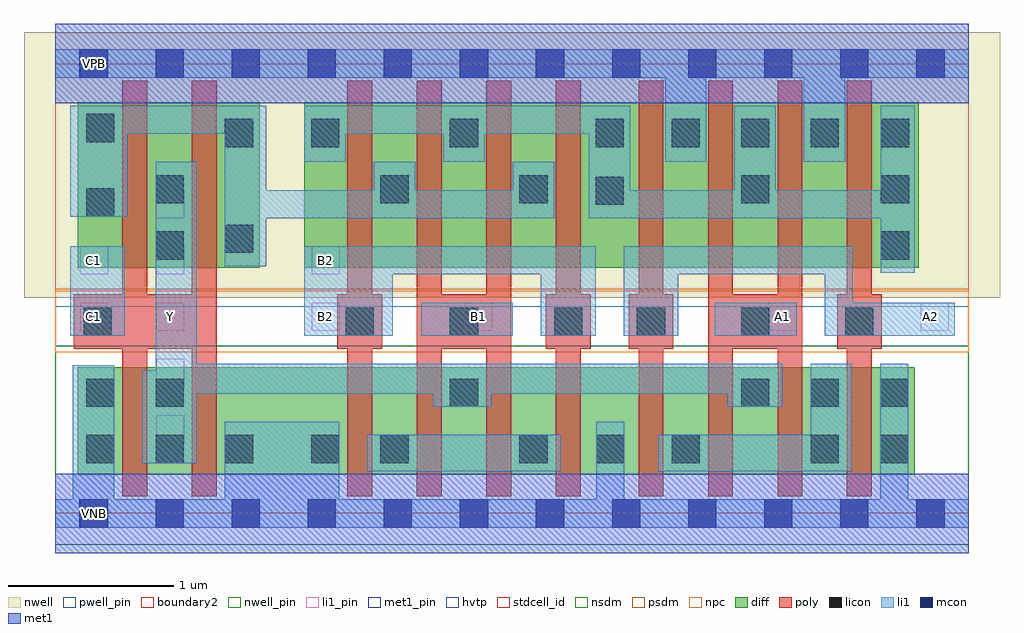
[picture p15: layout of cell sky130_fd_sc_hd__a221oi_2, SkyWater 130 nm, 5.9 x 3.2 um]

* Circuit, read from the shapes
.subckt sky130_fd_sc_hd__a221oi_2 A1 A2 B1 B2 C1 VGND VNB VPB VPWR Y
XM1 Y C1 VGND VNB sky130_fd_pr__nfet_01v8 w=0.65 l=0.15 m=2
XM2 n1 B2 VGND VNB sky130_fd_pr__nfet_01v8 w=0.65 l=0.15 m=2
XM3 Y B1 n1 VNB sky130_fd_pr__nfet_01v8 w=0.65 l=0.15 m=2
XM4 n2 A2 VGND VNB sky130_fd_pr__nfet_01v8 w=0.65 l=0.15 m=2
XM5 Y A1 n2 VNB sky130_fd_pr__nfet_01v8 w=0.65 l=0.15 m=2
XM6 Y C1 n3 VPB sky130_fd_pr__pfet_01v8_hvt w=1 l=0.15 m=2
XM7 n3 B2 n4 VPB sky130_fd_pr__pfet_01v8_hvt w=1 l=0.15 m=2
XM8 n4 B1 n3 VPB sky130_fd_pr__pfet_01v8_hvt w=1 l=0.15 m=2
XM9 VPWR A2 n4 VPB sky130_fd_pr__pfet_01v8_hvt w=1 l=0.15 m=2
XM10 n4 A1 VPWR VPB sky130_fd_pr__pfet_01v8_hvt w=1 l=0.15 m=2
.ends

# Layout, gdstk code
import gdstk
lib = gdstk.Library(unit=1e-6, precision=1e-09)
def R(c, l, rs):  # rectangles x0, y0, x1, y1
    for r in rs: c.add(gdstk.rectangle(r[:2], r[2:], *l))
def A(c, l, x, y, w, h, nx, ny, dx, dy):  # array of equal rectangles
    R(c, l, [(x+i*dx, y+j*dy, x+i*dx+w, y+j*dy+h) for i in range(nx) for j in range(ny)])
def P(c, l, *ps):  # polygons
    for p in ps: c.add(gdstk.Polygon(p, *l))
nwell_pin = (64, 16)
nwell = (64, 20)
diff = (65, 20)
poly = (66, 20)
licon = (66, 44)
li1_pin = (67, 16)
li1 = (67, 20)
mcon = (67, 44)
met1_pin = (68, 16)
met1 = (68, 20)
hvtp = (78, 44)
stdcell_id = (81, 4)
nsdm = (93, 44)
psdm = (94, 20)
npc = (95, 20)
pwell_pin = (122, 16)
boundary2 = (236, 0)

sky130_fd_sc_hd__a221oi_ = lib.new_cell('sky130_fd_sc_hd__a221oi_2')
R(sky130_fd_sc_hd__a221oi_, nwell_pin, [(0.15,2.635,0.32,2.805)])
R(sky130_fd_sc_hd__a221oi_, nwell, [(-0.19,1.305,5.71,2.91)])
R(sky130_fd_sc_hd__a221oi_, diff, [(0.135,0.235,5.195,0.885), (0.135,1.485,1.235,2.485), (1.505,1.485,5.22,2.485)])
P(sky130_fd_sc_hd__a221oi_, poly, [(1.975,1.325),(1.915,1.325),(1.915,2.615),(1.765,2.615),(1.765,1.325),(1.705,1.325),(1.705,0.995),(1.765,0.995),(1.765,0.105),(1.915,0.105),(1.915,0.995),(1.975,0.995)],
  [(2.755,2.615),(2.605,2.615),(2.605,1.325),(2.335,1.325),(2.335,2.615),(2.185,2.615),(2.185,0.105),(2.335,0.105),(2.335,0.995),(2.605,0.995),(2.605,0.105),(2.755,0.105)],
  [(4.995,1.325),(4.935,1.325),(4.935,2.615),(4.785,2.615),(4.785,1.325),(4.725,1.325),(4.725,0.995),(4.785,0.995),(4.785,0.105),(4.935,0.105),(4.935,0.995),(4.995,0.995)],
  [(3.235,1.325),(3.175,1.325),(3.175,2.615),(3.025,2.615),(3.025,1.325),(2.965,1.325),(2.965,0.995),(3.025,0.995),(3.025,0.105),(3.175,0.105),(3.175,0.995),(3.235,0.995)],
  [(0.975,2.615),(0.825,2.615),(0.825,1.325),(0.555,1.325),(0.555,2.615),(0.405,2.615),(0.405,1.325),(0.11,1.325),(0.11,0.995),(0.405,0.995),(0.405,0.105),(0.555,0.105),(0.555,0.995),(0.825,0.995),(0.825,0.105),(0.975,0.105)],
  [(4.515,2.615),(4.365,2.615),(4.365,1.325),(4.095,1.325),(4.095,2.615),(3.945,2.615),(3.945,0.105),(4.095,0.105),(4.095,0.995),(4.365,0.995),(4.365,0.105),(4.515,0.105)],
  [(3.735,1.325),(3.675,1.325),(3.675,2.615),(3.525,2.615),(3.525,1.325),(3.465,1.325),(3.465,0.995),(3.525,0.995),(3.525,0.105),(3.675,0.105),(3.675,0.995),(3.735,0.995)])
A(sky130_fd_sc_hd__a221oi_, licon, 0.185, 0.305, 0.17, 0.17, 3, 1, 0.42, 0)
A(sky130_fd_sc_hd__a221oi_, licon, 4.145, 0.645, 0.17, 0.17, 3, 1, 0.42, 0)
A(sky130_fd_sc_hd__a221oi_, licon, 1.755, 1.075, 0.17, 0.17, 3, 1, 0.63, 0)
A(sky130_fd_sc_hd__a221oi_, licon, 3.515, 1.075, 0.17, 0.17, 3, 1, 0.63, 0)
A(sky130_fd_sc_hd__a221oi_, licon, 4.99, 1.535, 0.17, 0.17, 1, 3, 0, 0.34)
A(sky130_fd_sc_hd__a221oi_, licon, 3.725, 2.215, 0.17, 0.17, 3, 1, 0.42, 0)
R(sky130_fd_sc_hd__a221oi_, licon, [(1.545,0.305,1.715,0.475), (1.965,0.305,2.135,0.475), (2.805,0.305,2.975,0.475), (3.27,0.305,3.44,0.475), (3.725,0.305,3.895,0.475), (4.565,0.305,4.735,0.475), (4.985,0.305,5.155,0.475), (0.185,0.645,0.355,0.815), (0.605,0.645,0.775,0.815), (2.385,0.645,2.555,0.815), (0.17,1.075,0.34,1.245), (0.605,1.535,0.775,1.705), (1.025,1.575,1.195,1.745), (0.185,1.795,0.355,1.965), (3.265,1.865,3.435,2.035), (0.605,1.875,0.775,2.045), (1.965,1.875,2.135,2.045), (2.805,1.875,2.975,2.045), (4.145,1.875,4.315,2.045), (1.025,2.215,1.195,2.385), (1.545,2.215,1.715,2.385), (2.385,2.215,2.555,2.385), (3.265,2.215,3.435,2.385), (0.185,2.245,0.355,2.415)])
A(sky130_fd_sc_hd__a221oi_, li1_pin, 0.61, 0.425, 0.17, 0.17, 1, 5, 0, 0.34)
R(sky130_fd_sc_hd__a221oi_, li1_pin, [(0.15,1.105,0.32,1.275), (1.55,1.105,1.72,1.275), (2.47,1.105,2.64,1.275), (4.31,1.105,4.48,1.275), (5.23,1.105,5.4,1.275), (0.15,1.445,0.32,1.615), (1.55,1.445,1.72,1.615)])
R(sky130_fd_sc_hd__a221oi_, li1, [(1.885,0.255,3.055,0.475), (0.09,1.075,0.42,1.615), (2.21,1.075,2.765,1.275), (3.985,1.075,4.48,1.275)])
P(sky130_fd_sc_hd__a221oi_, li1, [(5.52,2.805),(0,2.805),(0,2.635),(3.685,2.635),(3.685,2.125),(3.935,2.125),(3.935,2.635),(4.525,2.635),(4.525,2.125),(4.775,2.125),(4.775,2.635),(5.52,2.635)],
  [(5.435,1.275),(4.82,1.275),(4.82,1.615),(3.435,1.615),(3.435,1.075),(3.765,1.075),(3.765,1.445),(4.65,1.445),(4.65,1.075),(5.435,1.075)],
  [(5.52,0.085),(5.155,0.085),(5.155,0.905),(4.985,0.905),(4.985,0.085),(3.44,0.085),(3.44,0.555),(3.27,0.555),(3.27,0.085),(1.715,0.085),(1.715,0.555),(1.025,0.555),(1.025,0.085),(0.355,0.085),(0.355,0.895),(0.105,0.895),(0.105,0.085),(0,0.085),(0,-0.085),(5.52,-0.085)],
  [(3.015,2.125),(2.765,2.125),(2.765,1.955),(2.175,1.955),(2.175,2.125),(1.925,2.125),(1.925,1.955),(1.275,1.955),(1.275,2.465),(0.09,2.465),(0.09,1.795),(0.435,1.795),(0.435,2.295),(1.025,2.295),(1.025,1.495),(1.275,1.495),(1.275,1.785),(3.015,1.785)],
  [(3.265,1.615),(1.505,1.615),(1.505,1.075),(2.04,1.075),(2.04,1.445),(2.935,1.445),(2.935,1.075),(3.265,1.075)],
  [(4.395,0.905),(0.855,0.905),(0.855,2.125),(0.605,2.125),(0.605,0.865),(0.525,0.865),(0.525,0.305),(0.855,0.305),(0.855,0.725),(2.285,0.725),(2.285,0.645),(2.635,0.645),(2.635,0.725),(4.065,0.725),(4.065,0.645),(4.395,0.645)],
  [(4.815,0.905),(4.565,0.905),(4.565,0.475),(3.645,0.475),(3.645,0.255),(4.815,0.255)],
  [(5.195,2.465),(4.99,2.465),(4.99,1.955),(4.355,1.955),(4.355,2.465),(4.105,2.465),(4.105,1.955),(3.475,1.955),(3.475,2.465),(1.505,2.465),(1.505,2.125),(1.755,2.125),(1.755,2.295),(2.345,2.295),(2.345,2.125),(2.595,2.125),(2.595,2.295),(3.225,2.295),(3.225,1.785),(4.99,1.785),(4.99,1.455),(5.195,1.455)])
A(sky130_fd_sc_hd__a221oi_, mcon, 0.145, -0.085, 0.17, 0.17, 12, 2, 0.46, 2.72)
R(sky130_fd_sc_hd__a221oi_, met1_pin, [(0.15,-0.085,0.32,0.085), (0.15,2.635,0.32,2.805)])
R(sky130_fd_sc_hd__a221oi_, hvtp, [(0,1.25,5.52,2.72)])
R(sky130_fd_sc_hd__a221oi_, stdcell_id, [(0,0,5.52,2.72)])
R(sky130_fd_sc_hd__a221oi_, nsdm, [(0,-0.19,5.52,1.015)])
R(sky130_fd_sc_hd__a221oi_, psdm, [(0,1.355,5.52,2.91)])
R(sky130_fd_sc_hd__a221oi_, npc, [(0,0.975,5.52,1.345)])
R(sky130_fd_sc_hd__a221oi_, pwell_pin, [(0.15,-0.085,0.32,0.085)])
R(sky130_fd_sc_hd__a221oi_, boundary2, [(0,0,5.52,2.72)])
sky130_fd_sc_hd__a221oi_.add(gdstk.FlexPath([(0,2.72),(5.52,2.72)], 0.48, ends="flush", simple_path=True, layer=68, datatype=20))  # met1
sky130_fd_sc_hd__a221oi_.add(gdstk.FlexPath([(0,0),(5.52,0)], 0.48, ends="flush", simple_path=True, layer=68, datatype=20))  # met1
sky130_fd_sc_hd__a221oi_.add(gdstk.Label('B2', (1.635,1.53), layer=67, texttype=5))
sky130_fd_sc_hd__a221oi_.add(gdstk.Label('C1', (0.23,1.19), layer=67, texttype=5))
sky130_fd_sc_hd__a221oi_.add(gdstk.Label('A2', (5.29,1.19), layer=67, texttype=5))
sky130_fd_sc_hd__a221oi_.add(gdstk.Label('A1', (4.395,1.19), layer=67, texttype=5))
sky130_fd_sc_hd__a221oi_.add(gdstk.Label('B1', (2.555,1.19), layer=67, texttype=5))
sky130_fd_sc_hd__a221oi_.add(gdstk.Label('B2', (1.635,1.19), layer=67, texttype=5))
sky130_fd_sc_hd__a221oi_.add(gdstk.Label('Y', (0.695,1.19), layer=67, texttype=5))
sky130_fd_sc_hd__a221oi_.add(gdstk.Label('C1', (0.23,1.53), layer=67, texttype=5))
sky130_fd_sc_hd__a221oi_.add(gdstk.Label('VNB', (0.235,0), layer=64, texttype=59))
sky130_fd_sc_hd__a221oi_.add(gdstk.Label('VPB', (0.235,2.72), layer=64, texttype=5))
sky130_fd_sc_hd__a221oi_.add(gdstk.Label('VGND', (0.23,0), layer=68, texttype=5))
sky130_fd_sc_hd__a221oi_.add(gdstk.Label('VPWR', (0.235,2.72), layer=68, texttype=5))
sky130_fd_sc_hd__a221oi_.add(gdstk.Label('a221oi_2', (0,0), layer=83, texttype=44))

lib.write_gds('sky130_fd_sc_hd__a221oi_2.gds')
